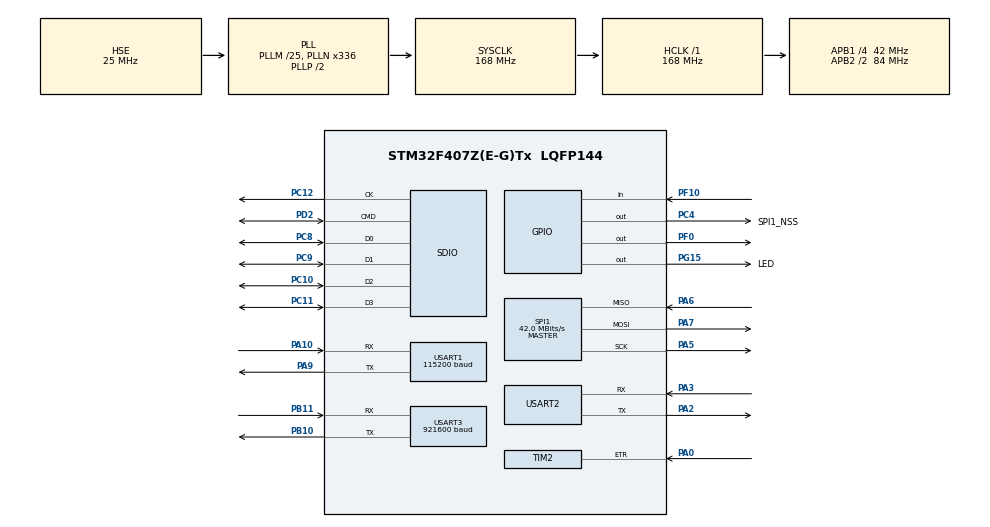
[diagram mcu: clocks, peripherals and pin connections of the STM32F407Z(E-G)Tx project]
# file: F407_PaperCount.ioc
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Dma.Request0=SDIO_RX
Dma.Request1=SDIO_TX
Dma.SDIO_RX.0.Direction=DMA_PERIPH_TO_MEMORY
Dma.SDIO_RX.0.FIFOMode=DMA_FIFOMODE_ENABLE
Dma.SDIO_RX.0.FIFOThreshold=DMA_FIFO_THRESHOLD_FULL
Dma.SDIO_RX.0.Instance=DMA2_Stream3
Dma.SDIO_RX.0.MemBurst=DMA_MBURST_INC4
Dma.SDIO_RX.0.MemDataAlignment=DMA_MDATAALIGN_WORD
Dma.SDIO_RX.0.MemInc=DMA_MINC_ENABLE
Dma.SDIO_RX.0.Mode=DMA_PFCTRL
Dma.SDIO_RX.0.PeriphBurst=DMA_PBURST_INC4
Dma.SDIO_RX.0.PeriphDataAlignment=DMA_PDATAALIGN_WORD
Dma.SDIO_RX.0.PeriphInc=DMA_PINC_DISABLE
Dma.SDIO_RX.0.Priority=DMA_PRIORITY_LOW
Dma.SDIO_TX.1.Direction=DMA_MEMORY_TO_PERIPH
Dma.SDIO_TX.1.FIFOMode=DMA_FIFOMODE_ENABLE
Dma.SDIO_TX.1.FIFOThreshold=DMA_FIFO_THRESHOLD_FULL
Dma.SDIO_TX.1.Instance=DMA2_Stream6
Dma.SDIO_TX.1.MemBurst=DMA_MBURST_INC4
Dma.SDIO_TX.1.MemDataAlignment=DMA_MDATAALIGN_WORD
Dma.SDIO_TX.1.MemInc=DMA_MINC_ENABLE
Dma.SDIO_TX.1.Mode=DMA_PFCTRL
Dma.SDIO_TX.1.PeriphBurst=DMA_PBURST_INC4
Dma.SDIO_TX.1.PeriphDataAlignment=DMA_PDATAALIGN_WORD
Dma.SDIO_TX.1.PeriphInc=DMA_PINC_DISABLE
Dma.SDIO_TX.1.Priority=DMA_PRIORITY_LOW
FATFS.BSP.number=1
FATFS.USE_DMA_CODE_SD=1
FATFS._CODE_PAGE=437
FATFS._FS_EXFAT=1
FATFS._FS_NORTC=1
FATFS._FS_TIMEOUT=500
FATFS._LFN_UNICODE=0
FATFS._NORTC_MDAY=19
FATFS._NORTC_MON=7
FATFS._NORTC_YEAR=2021
FATFS._STRF_ENCODE=0
FATFS._USE_LFN=2
FATFS._USE_MKFS=0
FATFS._USE_STRFUNC=1
FATFS0.BSP.STBoard=false
FATFS0.BSP.api=Unknown
FATFS0.BSP.i2caddr=0
FATFS0.BSP.instance=PF10
FATFS0.BSP.ip=GPIO
FATFS0.BSP.mode=Input
FATFS0.BSP.name=Detect_SDIO
FATFS0.BSP.solution=PF10
Mcu.Family=STM32F4
Mcu.Name=STM32F407Z(E-G)Tx
Mcu.Package=LQFP144
NVIC.DMA2_Stream3_IRQn=true\:0\:1\:true\:false\:true\:false\:true
NVIC.DMA2_Stream6_IRQn=true\:0\:1\:true\:false\:true\:false\:true
NVIC.PriorityGroup=NVIC_PRIORITYGROUP_3
NVIC.SDIO_IRQn=true\:0\:0\:true\:false\:true\:true\:true
NVIC.TIM6_DAC_IRQn=true\:0\:0\:false\:false\:true\:true\:true
NVIC.USART1_IRQn=true\:0\:0\:false\:false\:true\:true\:true
NVIC.USART3_IRQn=true\:0\:0\:false\:false\:true\:true\:true
PA0-WKUP.Signal=S_TIM2_CH1_ETR
PA10.Mode=Asynchronous
PA10.Signal=USART1_RX
PA13.Mode=Serial_Wire
PA13.Signal=SYS_JTMS-SWDIO
PA14.Mode=Serial_Wire
PA14.Signal=SYS_JTCK-SWCLK
PA2.Mode=Asynchronous
PA2.Signal=USART2_TX
PA3.Mode=Asynchronous
PA3.Signal=USART2_RX
PA5.Mode=Full_Duplex_Master
PA5.Signal=SPI1_SCK
PA6.Mode=Full_Duplex_Master
PA6.Signal=SPI1_MISO
PA7.Mode=Full_Duplex_Master
PA7.Signal=SPI1_MOSI
PA9.Mode=Asynchronous
PA9.Signal=USART1_TX
PB10.Mode=Asynchronous
PB10.Signal=USART3_TX
PB11.Mode=Asynchronous
PB11.Signal=USART3_RX
PC10.Mode=SD_4_bits_Wide_bus
PC10.Signal=SDIO_D2
PC11.Mode=SD_4_bits_Wide_bus
PC11.Signal=SDIO_D3
PC12.Mode=SD_4_bits_Wide_bus
PC12.Signal=SDIO_CK
PC4.GPIO_Label=SPI1_NSS
PC4.GPIO_ModeDefaultOutputPP=GPIO_MODE_OUTPUT_OD
PC4.GPIO_Speed=GPIO_SPEED_FREQ_VERY_HIGH
PC4.Signal=GPIO_Output
PC8.Mode=SD_4_bits_Wide_bus
PC8.Signal=SDIO_D0
PC9.Mode=SD_4_bits_Wide_bus
PC9.Signal=SDIO_D1
PD2.Mode=SD_4_bits_Wide_bus
PD2.Signal=SDIO_CMD
PF0.Signal=GPIO_Output
PF10.Signal=GPIO_Input
PG15.GPIO_Label=LED
PG15.Signal=GPIO_Output
PH0-OSC_IN.Mode=HSE-External-Oscillator
PH0-OSC_IN.Signal=RCC_OSC_IN
PH1-OSC_OUT.Mode=HSE-External-Oscillator
PH1-OSC_OUT.Signal=RCC_OSC_OUT
ProjectManager.HeapSize=0x400
ProjectManager.StackSize=0x1000
ProjectManager.TargetToolchain=SW4STM32
RCC.48MHZClocksFreq_Value=48000000
RCC.AHBFreq_Value=168000000
RCC.APB1CLKDivider=RCC_HCLK_DIV4
RCC.APB1Freq_Value=42000000
RCC.APB1TimFreq_Value=84000000
RCC.APB2CLKDivider=RCC_HCLK_DIV2
RCC.APB2Freq_Value=84000000
RCC.APB2TimFreq_Value=168000000
RCC.CortexFreq_Value=168000000
RCC.EnbaleCSS=true
RCC.HCLKFreq_Value=168000000
RCC.HSE_VALUE=25000000
RCC.HSI_VALUE=16000000
RCC.LSE_VALUE=32768
RCC.PLLM=25
RCC.PLLN=336
RCC.PLLQ=7
RCC.PLLSourceVirtual=RCC_PLLSOURCE_HSE
RCC.SYSCLKFreq_VALUE=168000000
RCC.SYSCLKSource=RCC_SYSCLKSOURCE_PLLCLK
RCC.VCOOutputFreq_Value=336000000
SH.S_TIM2_CH1_ETR.0=TIM2_ETR,ClockSourceETR_Mode2
SPI1.BaudRatePrescaler=SPI_BAUDRATEPRESCALER_2
SPI1.CalculateBaudRate=42.0 MBits/s
SPI1.Direction=SPI_DIRECTION_2LINES
SPI1.Mode=SPI_MODE_MASTER
SPI1.VirtualType=VM_MASTER
TIM2.ClockFilter=0
TIM2.Period=4294967295
TIM6.Period=500
TIM6.Prescaler=8400-1
USART1.BaudRate=115200
USART1.VirtualMode=VM_ASYNC
USART2.VirtualMode=VM_ASYNC
USART3.BaudRate=921600
USART3.VirtualMode=VM_ASYNC
VP_FATFS_VS_SDIO.Mode=SDIO
VP_TIM6_VS_ClockSourceINT.Mode=Enable_Timer
board=custom

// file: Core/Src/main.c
/* USER CODE BEGIN Header */
/**
  ******************************************************************************
  * @file           : main.c
  * @brief          : Main program body
  ******************************************************************************
  * @attention
  *
  * <h2><center>&copy; Copyright (c) 2021 STMicroelectronics.
  * All rights reserved.</center></h2>
  *
  * This software component is licensed by ST under BSD 3-Clause license,
  * the "License"; You may not use this file except in compliance with the
  * License. You may obtain a copy of the License at:
  *                        opensource.org/licenses/BSD-3-Clause
  *
  ******************************************************************************
  */
/* USER CODE END Header */
#include "main.h"
#include "fatfs.h"

/* USER CODE BEGIN Includes */
#include "paper.h"
#include "shell_control.h"
#include "UsartScreen.h"
#include "easyflash.h"

/* USER CODE END Includes */

/* USER CODE BEGIN PM */
//#define SAMPLING
/* USER CODE END PM */

SD_HandleTypeDef hsd;
DMA_HandleTypeDef hdma_sdio_rx;
DMA_HandleTypeDef hdma_sdio_tx;

SPI_HandleTypeDef hspi1;

TIM_HandleTypeDef htim2;
TIM_HandleTypeDef htim6;

UART_HandleTypeDef huart1;
UART_HandleTypeDef huart2;
UART_HandleTypeDef huart3;

/* USER CODE BEGIN PV */
FATFS fs;                 // Work area (file system object) for logical drive
FIL file;                  // file objects
uint32_t byteswritten;                /* File write counts */
uint32_t bytesread;                   /* File read counts */
uint8_t filename[] = "paper.csv";
/* USER CODE END PV */

void SystemClock_Config(void);

static void MX_GPIO_Init(void);

static void MX_DMA_Init(void);

static void MX_TIM2_Init(void);

static void MX_TIM6_Init(void);

static void MX_USART1_UART_Init(void);

static void MX_USART2_UART_Init(void);

static void MX_USART3_UART_Init(void);

static void MX_SDIO_SD_Init(void);

static void MX_SPI1_Init(void);

/* USER CODE BEGIN PFP */
void print_paper();

/* USER CODE END PFP */

/* USER CODE BEGIN 0 */

#ifdef __GNUC__
#define PUTCHAR_PROTOTYPE int __io_putchar(int ch)
#else
#define PUTCHAR_PROTOTYPE int fputc(int ch, FILE *f)
#endif

PUTCHAR_PROTOTYPE
{
    while ((USART1->SR & 0X40U) == 0);
    USART1->DR = (uint8_t) ch;
    return ch;
}
/* USER CODE END 0 */

int main(void)
{
    /* USER CODE BEGIN 1 */
    TCHAR str_buffer[256];

    uint8_t cali_line_cnt;

    uint8_t ef_saved_len;
    /* USER CODE END 1 */

    /* MCU Configuration--------------------------------------------------------*/

    /* Reset of all peripherals, Initializes the Flash interface and the Systick. */
    HAL_Init();

    /* Configure the system clock */
    SystemClock_Config();

    /* Initialize all configured peripherals */
    MX_GPIO_Init();
    MX_DMA_Init();
    MX_TIM2_Init();
    MX_TIM6_Init();
    MX_USART1_UART_Init();
    MX_USART2_UART_Init();
    MX_USART3_UART_Init();
    MX_SDIO_SD_Init();
    MX_FATFS_Init();
    MX_SPI1_Init();
    /* USER CODE BEGIN 2 */
    shell_control_init();
    HAL_TIM_Base_Start(&htim2);
    HAL_TIM_Base_Start_IT(&htim6);
    HAL_UART_Receive_IT(&huart3, &Usart3Buffer, 1);

    easyflash_init();

    ef_get_env_blob("freq_cali_table", freq_cali, sizeof(freq_cali), &ef_saved_len);
    if (ef_saved_len == 0) {
        logDebug("no table");
        ef_set_env_blob("freq_cali_table", freq_cali, sizeof(freq_cali));
    }
    ef_get_env_blob("freq_cali_table", NULL, sizeof(freq_cali), &ef_saved_len);
    logDebug("saved data:%d", ef_saved_len);

    paper_cali();

//    if (BSP_SD_IsDetected() == SD_PRESENT) {
//        retSD = f_mount(&fs, "", 0);
//        if (retSD) {
//            logError("mount err:%d", retSD);
//        }
//    } else {
//        logError("NO SD Card plugged!");
//    }
//
//    retSD = f_open(&file, filename, FA_CREATE_ALWAYS | FA_WRITE | FA_READ);
//    if (retSD) {
//        logError("file open err:%d", retSD);
//    }
//    f_printf(&file, "cnt_raw,cnt_sum,max,min,cnt_int,paper_cnt\r\n");
//    retSD = f_close(&file);
//    if (retSD) {
//        logError("file close err:%d", retSD);
//    }
    /* USER CODE END 2 */

    /* Infinite loop */
    /* USER CODE BEGIN WHILE */
#pragma clang diagnostic push
#pragma ide diagnostic ignored "EndlessLoop"
    while (1) {
        HAL_GPIO_TogglePin(LED_GPIO_Port, LED_Pin);
        HAL_Delay(500);

        if (ScreenCmd.PaperNum == 0) {
            SendScreenPaperNum(paper_cnt);
        }

        if (info) {
            logInfo("cnt_raw:%ld s1:%.2lf s2:%.2lf s3:%.2lf cnt_sum:%ld freq_calied:%.3lf cnt_int:%ld\r\n",
                    cnt_raw, multi_paper_fit[0], multi_paper_fit[1], multi_paper_fit[2], cnt_sum, freq_calied,
                    int_cnt);

//            retSD = f_open(&file, filename, FA_OPEN_APPEND | FA_WRITE | FA_READ);
//            if (retSD) {
//                logError("file open err:%d", retSD);
//            }
//            sprintf(str_buffer, "%ld,%lld,%ld,%ld,%ld,%d\r\n", cnt_raw, cnt_sum, max, min,
//                    int_cnt, ScreenCmd.CorrectNum);
//            f_printf(&file, "%s", str_buffer);
//            retSD = f_close(&file);
//            if (retSD) {
//                logError("file close err:%d", retSD);
//            }
        }

        if (ScreenCmd.Start) {
            if (rsted == 0) {
                HAL_Delay(1000);
                HAL_GPIO_WritePin(GPIOF, GPIO_PIN_0, GPIO_PIN_SET);
                HAL_Delay(13000);
                sample_cnt = 0;
                int_cnt = 0;
                rsted = 1;
                info = 1;
            }
        }

        if (ScreenCmd.Finish) {
            HAL_GPIO_WritePin(GPIOF, GPIO_PIN_0, GPIO_PIN_RESET);
            rsted = 0;
            info = 0;
            sample_cnt = 0;
        }

        if (ScreenCmd.ScreenPage == 1) {
            SendScreenRealFre(cnt_sum);
        }
        //计算校准公式
        if (ScreenCmd.Correct_apply) {
            ef_set_env_blob("freq_cali_table", freq_cali, sizeof(freq_cali));

            paper_cali();

            ScreenCmd.Correct_apply = 0;
        }

        if (ScreenCmd.DeleteCorrect) {
            ScreenCmd.DeleteCorrect = 0;
            freq_cali[ScreenCmd.DeleteCorrectData] = 0;
            ef_set_env_blob("freq_cali_table", freq_cali, sizeof(freq_cali));
        }

        if (cnt_raw < 100 && HAL_GPIO_ReadPin(GPIOF, GPIO_PIN_0) == GPIO_PIN_SET && ScreenCmd.PaperNum == 0) {
            SendScreenPlateState(ShortCircuit);
        } else {
            SendScreenPlateState(NoShortCircuit);
        }

/* USER CODE END WHILE */

        /* USER CODE BEGIN 3 */
    }

#pragma clang diagnostic pop
    /* USER CODE END 3 */
}

void SystemClock_Config(void)
{
    RCC_OscInitTypeDef RCC_OscInitStruct = {0};
    RCC_ClkInitTypeDef RCC_ClkInitStruct = {0};

    /** Configure the main internal regulator output voltage
    */
    __HAL_RCC_PWR_CLK_ENABLE();
    __HAL_PWR_VOLTAGESCALING_CONFIG(PWR_REGULATOR_VOLTAGE_SCALE1);
    /** Initializes the RCC Oscillators according to the specified parameters
    * in the RCC_OscInitTypeDef structure.
    */
    RCC_OscInitStruct.OscillatorType = RCC_OSCILLATORTYPE_HSE;
    RCC_OscInitStruct.HSEState = RCC_HSE_ON;
    RCC_OscInitStruct.PLL.PLLState = RCC_PLL_ON;
    RCC_OscInitStruct.PLL.PLLSource = RCC_PLLSOURCE_HSE;
    RCC_OscInitStruct.PLL.PLLM = 25;
    RCC_OscInitStruct.PLL.PLLN = 336;
    RCC_OscInitStruct.PLL.PLLP = RCC_PLLP_DIV2;
    RCC_OscInitStruct.PLL.PLLQ = 7;
    if (HAL_RCC_OscConfig(&RCC_OscInitStruct) != HAL_OK) {
        Error_Handler();
    }
    /** Initializes the CPU, AHB and APB buses clocks
    */
    RCC_ClkInitStruct.ClockType = RCC_CLOCKTYPE_HCLK | RCC_CLOCKTYPE_SYSCLK
                                  | RCC_CLOCKTYPE_PCLK1 | RCC_CLOCKTYPE_PCLK2;
    RCC_ClkInitStruct.SYSCLKSource = RCC_SYSCLKSOURCE_PLLCLK;
    RCC_ClkInitStruct.AHBCLKDivider = RCC_SYSCLK_DIV1;
    RCC_ClkInitStruct.APB1CLKDivider = RCC_HCLK_DIV4;
    RCC_ClkInitStruct.APB2CLKDivider = RCC_HCLK_DIV2;

    if (HAL_RCC_ClockConfig(&RCC_ClkInitStruct, FLASH_LATENCY_5) != HAL_OK) {
        Error_Handler();
    }
    /** Enables the Clock Security System
    */
    HAL_RCC_EnableCSS();
}

static void MX_SDIO_SD_Init(void)
{

    hsd.Instance = SDIO;
    hsd.Init.ClockEdge = SDIO_CLOCK_EDGE_RISING;
    hsd.Init.ClockBypass = SDIO_CLOCK_BYPASS_DISABLE;
    hsd.Init.ClockPowerSave = SDIO_CLOCK_POWER_SAVE_DISABLE;
    hsd.Init.BusWide = SDIO_BUS_WIDE_1B;
    hsd.Init.HardwareFlowControl = SDIO_HARDWARE_FLOW_CONTROL_DISABLE;
    hsd.Init.ClockDiv = 0;

}

static void MX_SPI1_Init(void)
{

    /* SPI1 parameter configuration*/
    hspi1.Instance = SPI1;
    hspi1.Init.Mode = SPI_MODE_MASTER;
    hspi1.Init.Direction = SPI_DIRECTION_2LINES;
    hspi1.Init.DataSize = SPI_DATASIZE_8BIT;
    hspi1.Init.CLKPolarity = SPI_POLARITY_LOW;
    hspi1.Init.CLKPhase = SPI_PHASE_1EDGE;
    hspi1.Init.NSS = SPI_NSS_SOFT;
    hspi1.Init.BaudRatePrescaler = SPI_BAUDRATEPRESCALER_2;
    hspi1.Init.FirstBit = SPI_FIRSTBIT_MSB;
    hspi1.Init.TIMode = SPI_TIMODE_DISABLE;
    hspi1.Init.CRCCalculation = SPI_CRCCALCULATION_DISABLE;
    hspi1.Init.CRCPolynomial = 10;
    if (HAL_SPI_Init(&hspi1) != HAL_OK) {
        Error_Handler();
    }

}

static void MX_TIM2_Init(void)
{

    TIM_ClockConfigTypeDef sClockSourceConfig = {0};
    TIM_MasterConfigTypeDef sMasterConfig = {0};

    htim2.Instance = TIM2;
    htim2.Init.Prescaler = 0;
    htim2.Init.CounterMode = TIM_COUNTERMODE_UP;
    htim2.Init.Period = 4294967295;
    htim2.Init.ClockDivision = TIM_CLOCKDIVISION_DIV1;
    htim2.Init.AutoReloadPreload = TIM_AUTORELOAD_PRELOAD_DISABLE;
    if (HAL_TIM_Base_Init(&htim2) != HAL_OK) {
        Error_Handler();
    }
    sClockSourceConfig.ClockSource = TIM_CLOCKSOURCE_ETRMODE2;
    sClockSourceConfig.ClockPolarity = TIM_CLOCKPOLARITY_NONINVERTED;
    sClockSourceConfig.ClockPrescaler = TIM_CLOCKPRESCALER_DIV1;
    sClockSourceConfig.ClockFilter = 0;
    if (HAL_TIM_ConfigClockSource(&htim2, &sClockSourceConfig) != HAL_OK) {
        Error_Handler();
    }
    sMasterConfig.MasterOutputTrigger = TIM_TRGO_RESET;
    sMasterConfig.MasterSlaveMode = TIM_MASTERSLAVEMODE_DISABLE;
    if (HAL_TIMEx_MasterConfigSynchronization(&htim2, &sMasterConfig) != HAL_OK) {
        Error_Handler();
    }

}

static void MX_TIM6_Init(void)
{

    TIM_MasterConfigTypeDef sMasterConfig = {0};

    htim6.Instance = TIM6;
    htim6.Init.Prescaler = 8400 - 1;
    htim6.Init.CounterMode = TIM_COUNTERMODE_UP;
    htim6.Init.Period = 500;
    htim6.Init.AutoReloadPreload = TIM_AUTORELOAD_PRELOAD_DISABLE;
    if (HAL_TIM_Base_Init(&htim6) != HAL_OK) {
        Error_Handler();
    }
    sMasterConfig.MasterOutputTrigger = TIM_TRGO_RESET;
    sMasterConfig.MasterSlaveMode = TIM_MASTERSLAVEMODE_DISABLE;
    if (HAL_TIMEx_MasterConfigSynchronization(&htim6, &sMasterConfig) != HAL_OK) {
        Error_Handler();
    }

}

static void MX_USART1_UART_Init(void)
{

    huart1.Instance = USART1;
    huart1.Init.BaudRate = 115200;
    huart1.Init.WordLength = UART_WORDLENGTH_8B;
    huart1.Init.StopBits = UART_STOPBITS_1;
    huart1.Init.Parity = UART_PARITY_NONE;
    huart1.Init.Mode = UART_MODE_TX_RX;
    huart1.Init.HwFlowCtl = UART_HWCONTROL_NONE;
    huart1.Init.OverSampling = UART_OVERSAMPLING_16;
    if (HAL_UART_Init(&huart1) != HAL_OK) {
        Error_Handler();
    }

}

static void MX_USART2_UART_Init(void)
{

    huart2.Instance = USART2;
    huart2.Init.BaudRate = 115200;
    huart2.Init.WordLength = UART_WORDLENGTH_8B;
    huart2.Init.StopBits = UART_STOPBITS_1;
    huart2.Init.Parity = UART_PARITY_NONE;
    huart2.Init.Mode = UART_MODE_TX_RX;
    huart2.Init.HwFlowCtl = UART_HWCONTROL_NONE;
    huart2.Init.OverSampling = UART_OVERSAMPLING_16;
    if (HAL_UART_Init(&huart2) != HAL_OK) {
        Error_Handler();
    }

}

static void MX_USART3_UART_Init(void)
{

    huart3.Instance = USART3;
    huart3.Init.BaudRate = 921600;
    huart3.Init.WordLength = UART_WORDLENGTH_8B;
    huart3.Init.StopBits = UART_STOPBITS_1;
    huart3.Init.Parity = UART_PARITY_NONE;
    huart3.Init.Mode = UART_MODE_TX_RX;
    huart3.Init.HwFlowCtl = UART_HWCONTROL_NONE;
    huart3.Init.OverSampling = UART_OVERSAMPLING_16;
    if (HAL_UART_Init(&huart3) != HAL_OK) {
        Error_Handler();
    }

}

static void MX_DMA_Init(void)
{

    /* DMA controller clock enable */
    __HAL_RCC_DMA2_CLK_ENABLE();

    /* DMA interrupt init */
    /* DMA2_Stream3_IRQn interrupt configuration */
    HAL_NVIC_SetPriority(DMA2_Stream3_IRQn, 0, 1);
    HAL_NVIC_EnableIRQ(DMA2_Stream3_IRQn);
    /* DMA2_Stream6_IRQn interrupt configuration */
    HAL_NVIC_SetPriority(DMA2_Stream6_IRQn, 0, 1);
    HAL_NVIC_EnableIRQ(DMA2_Stream6_IRQn);

}

static void MX_GPIO_Init(void)
{
    GPIO_InitTypeDef GPIO_InitStruct = {0};

    /* GPIO Ports Clock Enable */
    __HAL_RCC_GPIOF_CLK_ENABLE();
    __HAL_RCC_GPIOH_CLK_ENABLE();
    __HAL_RCC_GPIOA_CLK_ENABLE();
    __HAL_RCC_GPIOC_CLK_ENABLE();
    __HAL_RCC_GPIOB_CLK_ENABLE();
    __HAL_RCC_GPIOD_CLK_ENABLE();
    __HAL_RCC_GPIOG_CLK_ENABLE();

    /*Configure GPIO pin Output Level */
    HAL_GPIO_WritePin(GPIOF, GPIO_PIN_0, GPIO_PIN_RESET);

    /*Configure GPIO pin Output Level */
    HAL_GPIO_WritePin(SPI1_NSS_GPIO_Port, SPI1_NSS_Pin, GPIO_PIN_RESET);

    /*Configure GPIO pin Output Level */
    HAL_GPIO_WritePin(LED_GPIO_Port, LED_Pin, GPIO_PIN_RESET);

    /*Configure GPIO pin : PF0 */
    GPIO_InitStruct.Pin = GPIO_PIN_0;
    GPIO_InitStruct.Mode = GPIO_MODE_OUTPUT_PP;
    GPIO_InitStruct.Pull = GPIO_NOPULL;
    GPIO_InitStruct.Speed = GPIO_SPEED_FREQ_LOW;
    HAL_GPIO_Init(GPIOF, &GPIO_InitStruct);

    /*Configure GPIO pin : PF10 */
    GPIO_InitStruct.Pin = GPIO_PIN_10;
    GPIO_InitStruct.Mode = GPIO_MODE_INPUT;
    GPIO_InitStruct.Pull = GPIO_NOPULL;
    HAL_GPIO_Init(GPIOF, &GPIO_InitStruct);

    /*Configure GPIO pin : SPI1_NSS_Pin */
    GPIO_InitStruct.Pin = SPI1_NSS_Pin;
    GPIO_InitStruct.Mode = GPIO_MODE_OUTPUT_OD;
    GPIO_InitStruct.Pull = GPIO_NOPULL;
    GPIO_InitStruct.Speed = GPIO_SPEED_FREQ_VERY_HIGH;
    HAL_GPIO_Init(SPI1_NSS_GPIO_Port, &GPIO_InitStruct);

    /*Configure GPIO pin : LED_Pin */
    GPIO_InitStruct.Pin = LED_Pin;
    GPIO_InitStruct.Mode = GPIO_MODE_OUTPUT_PP;
    GPIO_InitStruct.Pull = GPIO_NOPULL;
    GPIO_InitStruct.Speed = GPIO_SPEED_FREQ_LOW;
    HAL_GPIO_Init(LED_GPIO_Port, &GPIO_InitStruct);

}

void Error_Handler(void)
{
    __disable_irq();
    while (1) {
    }
}

/************************ (C) COPYRIGHT STMicroelectronics *****END OF FILE****/
